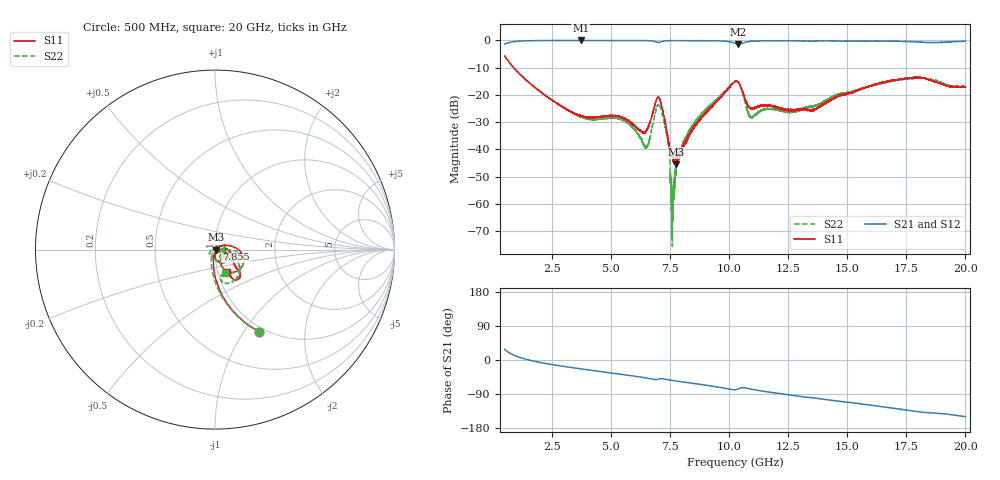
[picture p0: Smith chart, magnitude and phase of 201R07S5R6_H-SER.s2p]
!{201R07S5R6}
!Johanson Technology Inc.
!www.johansontechnology.com
!Test Board Conditions:
!Substrate Type  RO4350B
!Substrate Thickness  10 mil
!Substrate Dk  3.66
!TL Type: GCPW
!TL Trace Width  21 mil
!TL Gap  20 mil
!Electrode orientation  Horizontal
!DUT TOPOLOGY	SERIES
!Mounting Pad LxW  16x21 mil
!Agilent Technologies,N5230A,MY45001966,A.07.50.67
!Agilent N5230A: A.07.50.67
! Created Mon Mar  9 15:11:58 2020
# mhz S ma R 50
! 2 Port Network Data from SP1.SP block
! freq  magS11  angS11  magS21  angS21  magS12  angS12  magS22  angS22
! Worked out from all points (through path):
!   19501 points, 500 MHz to 20 GHz, reference 50 ohm
!   highest |S21| = -0.03 dB at 3.724 GHz (marker M1); lowest = -1.4 dB at 10.39 GHz (marker M2)
!   group delay of S21, straight-line fit = 22.3 ps
!   lowest |S11| = -45.4 dB at 7.754 GHz (marker M3), VSWR 1.01, Z = 50.5 - j0.0398 ohm
!   |S11| at or under -10 dB: 881.4 MHz to end of sweep
!   |S22| runs from -75.5 to -5.7 dB; largest |S21 - S12| = 0.015
!   S11 on the Smith chart (normalised r, x): 500 MHz: 0.94, -1.17; 7.855 GHz: 1.01, +0.00; 20 GHz: 1.11, -0.28
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500  0.5182 -61.7  0.8503 28.0  0.8521 28.0  0.5192 -61.7
1384  0.1912 -86.0  0.9795 2.4  0.9784 2.3  0.1943 -88.3
3724  0.04117 -99.5  0.9968 -23.4  0.9959 -23.4  0.03959 -120.3
3750  0.04084 -99.6  0.9955 -23.6  0.9947 -23.6  0.03906 -121.2
5506  0.03772 -100.5  0.9944 -38.5  0.9943 -38.5  0.0346 -150.9
6485  0.0216 -37.6  0.9889 -47.3  0.9894 -47.3  0.01108 114.5
7000  0.08999 -46.2  0.9171 -50.5  0.917 -50.5  0.06559 -50.0
7159  0.06003 -82.9  0.9554 -49.1  0.9552 -49.2  0.04735 -103.6
7393  0.01776 -83.8  0.983 -51.8  0.9845 -51.9  0.01591 -122.9
7598  0.007777 -47.1  0.9897 -54.0  0.9895 -54.0  0.0005699 -21.2
7659  0.006768 -29.0  0.9897 -54.5  0.9889 -54.5  0.001991 -9.2
7754  0.005377 -4.2  0.9908 -55.4  0.9901 -55.4  0.00412 -0.3
7855  0.007355 14.5  0.9909 -56.3  0.9914 -56.3  0.006363 9.8
8604  0.02806 36.0  0.9924 -62.8  0.9917 -62.8  0.03446 -1.2
10250  0.1754 -24.5  0.8818 -78.6  0.8813 -78.6  0.1784 -28.5
10393  0.1701 -46.2  0.8467 -76.1  0.849 -76.2  0.1695 -48.5
10937  0.05618 -42.0  0.9618 -76.9  0.9608 -76.8  0.03898 -26.5
11558  0.06524 -18.1  0.9811 -83.4  0.9825 -83.4  0.05446 13.8
13500  0.05149 4.0  0.9761 -99.7  0.9754 -99.7  0.06081 -46.2
16750  0.1786 -41.9  0.9713 -125.6  0.9657 -125.8  0.1739 -37.9
18215  0.2061 -55.2  0.9199 -137.9  0.9203 -138.1  0.2013 -68.6
20000  0.1413 -61.3  0.9612 -149.6  0.9613 -149.5  0.1402 -66.5
